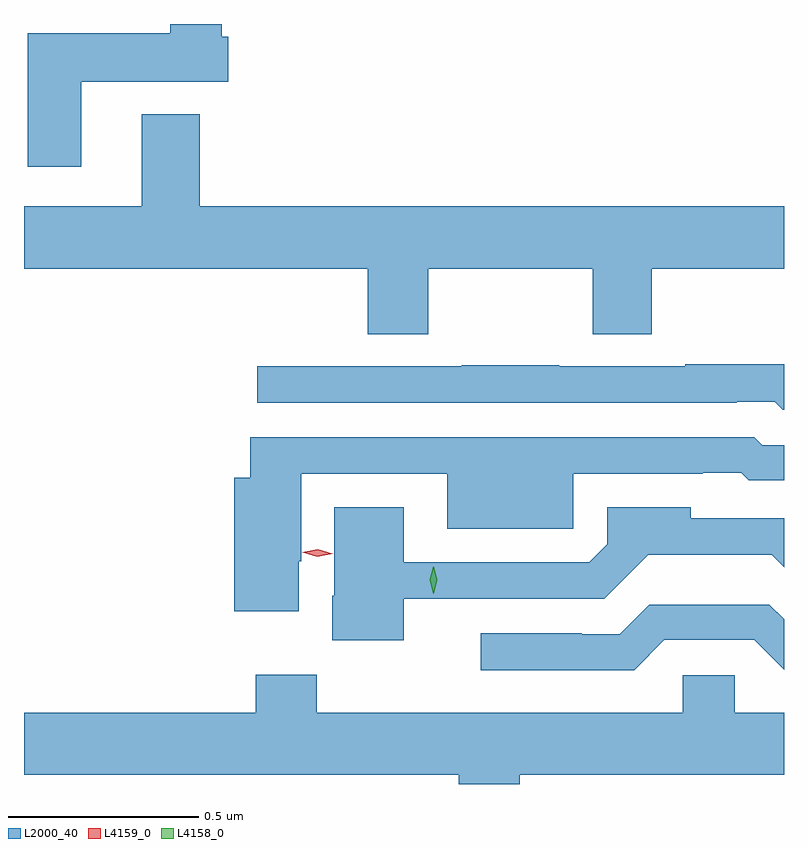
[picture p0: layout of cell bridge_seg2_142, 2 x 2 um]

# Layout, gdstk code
import gdstk
lib = gdstk.Library(unit=1e-6, precision=1e-09)
def P(c, l, *ps):  # polygons
    for p in ps: c.add(gdstk.Polygon(p, *l))
L2000_40 = (2000, 40)
L4158_0 = (4158, 0)
L4159_0 = (4159, 0)

bridge_seg2_142 = lib.new_cell('bridge_seg2_142')
P(bridge_seg2_142, L2000_40, [(369.145,661.448),(369.533,661.448),(369.533,661.566),(369.515,661.566),(369.515,661.6),(369.38,661.6),(369.38,661.576),(369.005,661.576),(369.005,661.224),(369.145,661.224)],
  [(370.059,660.956),(370.492,660.956),(370.492,660.784),(370.647,660.784),(370.647,660.956),(370.995,660.956),(370.995,661.12),(369.458,661.12),(369.458,661.363),(369.305,661.363),(369.305,661.12),(368.995,661.12),(368.995,660.956),(369.899,660.956),(369.899,660.784),(370.059,660.784)],
  [(370.995,660.704),(370.735,660.704),(370.735,660.699),(370.403,660.699),(370.403,660.702),(370.147,660.702),(370.147,660.699),(369.609,660.699),(369.609,660.603),(370.871,660.603),(370.871,660.606),(370.971,660.606),(370.992,660.585),(370.995,660.585)],
  [(369.718,660.186),(369.724,660.186),(369.724,660.417),(370.109,660.417),(370.109,660.272),(370.44,660.272),(370.44,660.417),(370.781,660.417),(370.781,660.419),(370.882,660.419),(370.902,660.399),(370.995,660.399),(370.995,660.492),(370.938,660.492),(370.917,660.513),(369.59,660.513),(369.59,660.406),(369.548,660.406),(369.548,660.054),(369.718,660.054)],
  [(369.994,660.087),(370.522,660.087),(370.638,660.203),(370.963,660.203),(370.995,660.171),(370.995,660.3),(370.749,660.3),(370.749,660.328),(370.53,660.328),(370.53,660.231),(370.482,660.183),(369.994,660.183),(369.994,660.328),(369.812,660.328),(369.812,660.096),(369.806,660.096),(369.806,659.978),(369.994,659.978)],
  [(370.68,659.979),(370.917,659.979),(370.995,659.901),(370.995,660.033),(370.956,660.072),(370.641,660.072),(370.563,659.994),(370.463,659.994),(370.463,659.997),(370.197,659.997),(370.197,659.9),(370.601,659.9)],
  [(370.299,659.624),(370.995,659.624),(370.995,659.788),(370.866,659.788),(370.866,659.886),(370.728,659.886),(370.728,659.788),(369.765,659.788),(369.765,659.887),(369.605,659.887),(369.605,659.788),(368.995,659.788),(368.995,659.624),(370.139,659.624),(370.139,659.6),(370.299,659.6)])
P(bridge_seg2_142, L4158_0, [(370.073,660.101),(370.072,660.102),(370.063,660.137),(370.072,660.172),(370.073,660.172),(370.073,660.172),(370.083,660.137),(370.073,660.102)])
P(bridge_seg2_142, L4159_0, [(369.767,660.198),(369.727,660.21),(369.727,660.21),(369.727,660.21),(369.768,660.218),(369.807,660.206),(369.808,660.206),(369.807,660.206)])

lib.write_gds('bridge_seg2_142.gds')
